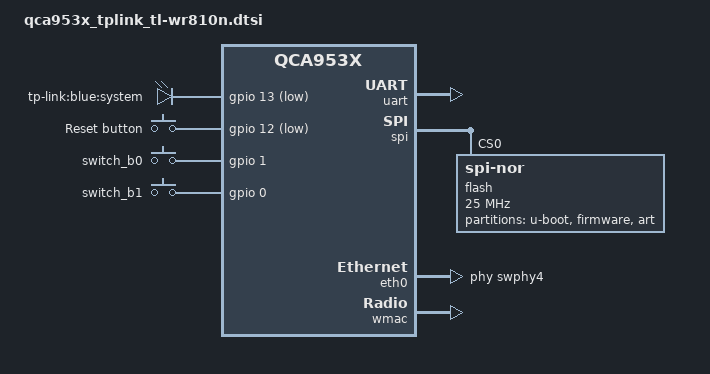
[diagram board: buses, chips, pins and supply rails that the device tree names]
// SPDX-License-Identifier: GPL-2.0-or-later OR MIT

#include <dt-bindings/gpio/gpio.h>
#include <dt-bindings/input/input.h>

#include "qca953x.dtsi"

/ {
	chosen {
		bootargs = "console=ttyS0,115200n8";
	};

	aliases {
		led-boot = &led_system;
		led-failsafe = &led_system;
		led-running = &led_system;
		led-upgrade = &led_system;
		label-mac-device = &eth1;
	};

	leds {
		compatible = "gpio-leds";

		led_system: system {
			label = "tp-link:blue:system";
			gpios = <&gpio 13 GPIO_ACTIVE_LOW>;
		};
	};

	keys {
		compatible = "gpio-keys";

		reset {
			label = "Reset button";
			linux,code = <KEY_RESTART>;
			gpios = <&gpio 12 GPIO_ACTIVE_LOW>;
			debounce-interval = <60>;
		};

		switch_b0 {
			label = "switch_b0";
			linux,input-type = <EV_SW>;
			linux,code = <BTN_0>;
			gpios = <&gpio 1 GPIO_ACTIVE_HIGH>;
			debounce-interval = <60>;
		};

		switch_b1 {
			label = "switch_b1";
			linux,input-type = <EV_SW>;
			linux,code = <BTN_1>;
			gpios = <&gpio 0 GPIO_ACTIVE_HIGH>;
			debounce-interval = <60>;
		};
	};
};

&uart {
	status = "okay";
};

&spi {
	status = "okay";

	num-cs = <1>;

	flash@0 {
		compatible = "jedec,spi-nor";
		reg = <0>;
		spi-max-frequency = <25000000>;

		partitions {
			compatible = "fixed-partitions";
			#address-cells = <1>;
			#size-cells = <1>;

			uboot:	partition@0 {
				label = "u-boot";
				reg = <0x000000 0x020000>;
				read-only;
			};

			partition@20000 {
				compatible = "tplink,firmware";
				label = "firmware";
				reg = <0x020000 0x7d0000>;
			};

			art: partition@7f0000 {
				label = "art";
				reg = <0x7f0000 0x010000>;
				read-only;
			};
		};
	};
};

&eth1 {
	mtd-mac-address = <&uboot 0x1fc00>;
};

&eth0 {
	status = "okay";

	phy-handle = <&swphy4>;

	mtd-mac-address = <&uboot 0x1fc00>;
	mtd-mac-address-increment = <1>;
};

&wmac {
	status = "okay";

	mtd-cal-data = <&art 0x1000>;
	mtd-mac-address = <&uboot 0x1fc00>;
};
